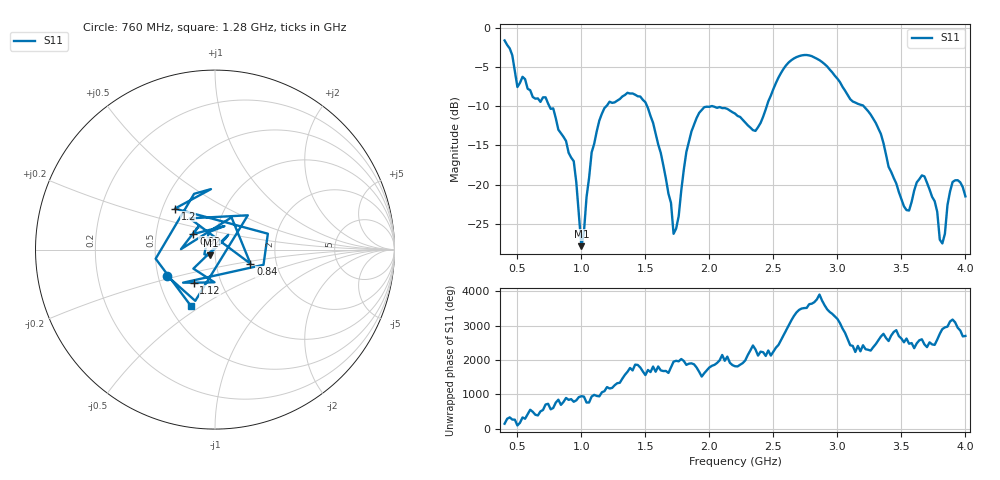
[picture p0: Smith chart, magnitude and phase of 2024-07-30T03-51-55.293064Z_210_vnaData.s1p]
!Created with skrf (http://scikit-rf.org).
# Hz S RI R 50.0
!freq ReS11 ImS11
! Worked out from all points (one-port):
!   181 points, 400 MHz to 4 GHz, reference 50 ohm
!   lowest |S11| = -27.9 dB at 1 GHz (marker M1), VSWR 1.08, Z = 47.4 - j2.95 ohm
!   |S11| at or under -10 dB: 749.8 MHz to 1.195 GHz (444.9 MHz wide, 45.8 % of centre); 1.514 GHz to 2.016 GHz (502.4 MHz wide, 28.5 % of centre); 3.205 GHz to end of sweep (the widest 3 of 4)
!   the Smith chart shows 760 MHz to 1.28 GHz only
!   S11 on the Smith chart (normalised r, x): 760 MHz: 0.56, -0.18; 840 MHz: 1.47, -0.24; 920 MHz: 0.77, +0.14; 1.12 GHz: 0.74, -0.29; 1.2 GHz: 0.58, +0.30; 1.28 GHz: 0.64, -0.46
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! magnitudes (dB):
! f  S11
! 400 MHz  -1.6
! 500 MHz  -7.6
! 760 MHz  -10.3
! 840 MHz  -13.4
! 860 MHz  -13.9
! 920 MHz  -16.6
! 960 MHz  -19.7
! 1 GHz  -27.9
! 1.12 GHz  -13.2
! 1.2 GHz  -9.9
! 1.28 GHz  -9.3
! 1.3 GHz  -9.1
! 1.5 GHz  -9.5
! 1.62 GHz  -16.0
! 1.72 GHz  -26.3
! 1.76 GHz  -24.0
! 1.82 GHz  -15.8
! 1.92 GHz  -10.9
! 2.2 GHz  -10.9
! 2.36 GHz  -13.2
! 2.66 GHz  -3.9
! 3.1 GHz  -9.1
! 3.3 GHz  -12.1
! 3.56 GHz  -23.3
! 3.68 GHz  -19.0
! 3.82 GHz  -27.5
! 3.9 GHz  -19.7
! 4 GHz  -21.5
